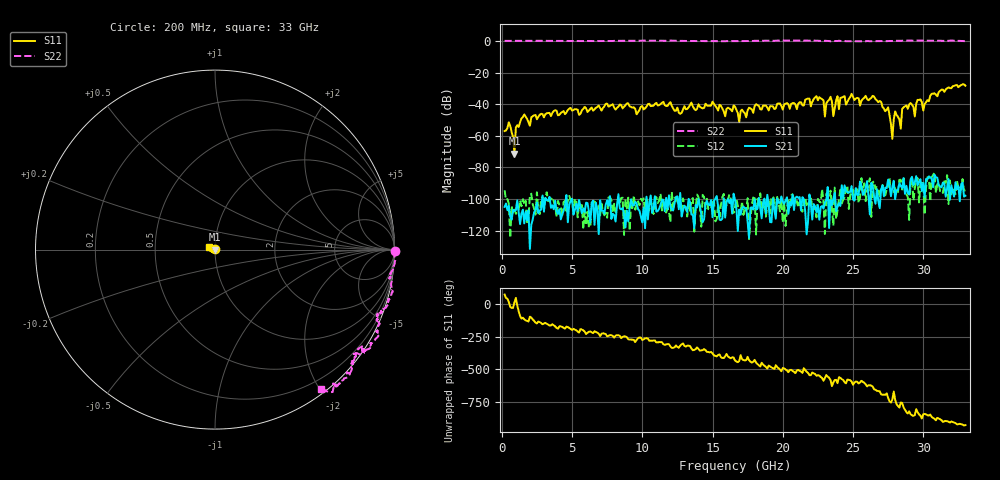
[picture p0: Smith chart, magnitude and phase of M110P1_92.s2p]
# GHZ S RI R 50
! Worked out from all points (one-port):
!   329 points, 200 MHz to 33 GHz, reference 50 ohm
!   lowest |S11| = -71.2 dB at 900 MHz (marker M1), VSWR 1.00, Z = 50 + j0.00494 ohm
!   |S11| at or under -10 dB: start of sweep to end of sweep
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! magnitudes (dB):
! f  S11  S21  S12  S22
! 200 MHz  -57.0  -104.9  -94.4  0.0
! 500 MHz  -51.5  -104.0  -103.0  0.0
! 900 MHz  -71.2  -107.4  -106.7  0.0
! 1 GHz  -54.6  -107.0  -109.2  0.0
! 1.6 GHz  -46.5  -115.3  -103.2  0.0
! 5.7 GHz  -44.0  -108.9  -103.7  -0.1
! 11.2 GHz  -40.6  -106.2  -101.0  0.1
! 16.6 GHz  -41.5  -100.4  -105.1  -0.2
! 16.9 GHz  -51.4  -106.6  -110.1  -0.2
! 22.1 GHz  -38.6  -112.9  -105.7  0.2
! 22.9 GHz  -37.6  -106.0  -101.5  0.0
! 23 GHz  -47.8  -102.1  -122.1  0.1
! 23.4 GHz  -35.3  -100.5  -94.7  -0.3
! 23.6 GHz  -47.6  -99.9  -116.9  0.0
! 23.9 GHz  -35.0  -104.8  -107.0  -0.1
! 26.4 GHz  -34.7  -91.5  -89.3  -0.2
! 27.6 GHz  -47.0  -90.6  -86.5  -0.1
! 27.8 GHz  -61.8  -92.4  -96.9  -0.1
! 28 GHz  -44.6  -100.0  -93.2  0.1
! 28.4 GHz  -55.5  -91.8  -87.7  0.0
! 28.7 GHz  -41.4  -96.7  -95.3  0.1
! 33 GHz  -28.3  -97.9  -94.5  -0.2
